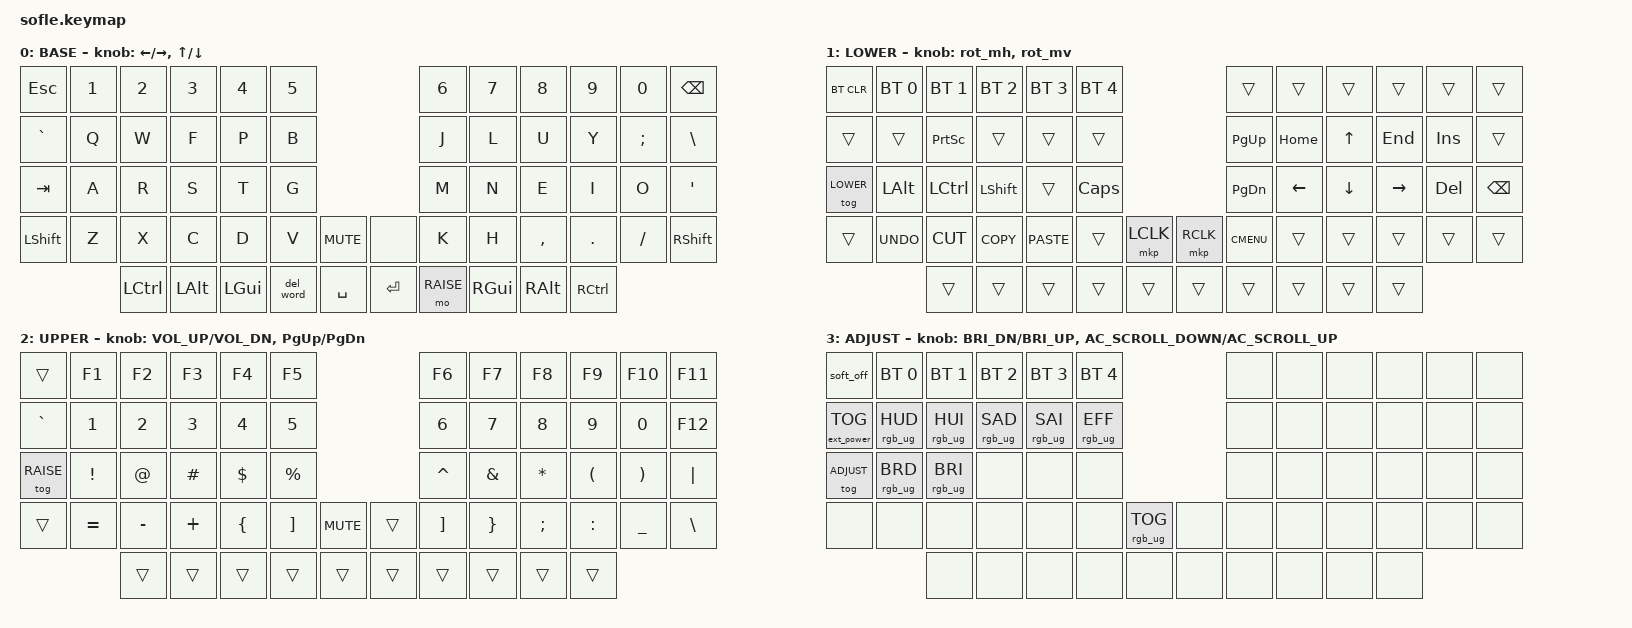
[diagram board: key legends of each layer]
/*
 * Copyright (c) 2020 The ZMK Contributors & Yegor Stepanov
 *
 * SPDX-License-Identifier: MIT
 */

#include <behaviors.dtsi>
#include <dt-bindings/zmk/keys.h>
#include <dt-bindings/zmk/bt.h>
#include <dt-bindings/zmk/rgb.h>
#include <dt-bindings/zmk/ext_power.h>

#define ZMK_POINTING_DEFAULT_MOVE_VAL 1200
#include <dt-bindings/zmk/pointing.h>

#define BASE 0
#define LOWER 1
#define RAISE 2
#define ADJUST 3

&mmv {
    acceleration-exponent = <0>;
    time-to-max-speed-ms = <300>;
    delay-ms = <0>;
    trigger-period-ms = <4>;
};

/ {
    behaviors {
        // Tap dance
        del_word: del_word {
            compatible = "zmk,behavior-tap-dance";
            #binding-cells = <0>;
            tapping-term-ms = <200>;
            bindings = <&mo LOWER>, <&kp LA(BSPC)>;
        };

        // Mouse
        rot_mh: rot_mh {
            compatible = "zmk,behavior-sensor-rotate";
            #sensor-binding-cells = <0>;
            bindings = <&mmv MOVE_LEFT>, <&mmv MOVE_RIGHT>;
            tap-ms = <40>;
        };

        rot_mv: rot_mv {
            compatible = "zmk,behavior-sensor-rotate";
            #sensor-binding-cells = <0>;
            bindings = <&mmv MOVE_UP>, <&mmv MOVE_DOWN>;
            tap-ms = <40>;
        };
    };

    // Activate ADJUST layer by pressing raise and lower
    conditional_layers {
        compatible = "zmk,conditional-layers";
        adjust_layer {
            if-layers = <LOWER RAISE>;
            then-layer = <ADJUST>;
        };
    }; 

    keymap {
        compatible = "zmk,keymap";

        default_layer {
            display-name = "BASE";
            // -----------------------------------------------------------------------------------------------------------
            // |  ESC  |  1  |  2  |  3   |  4   |  5   |                   |  6   |   7  |  8    |  9   |   0   | BKSPC |
            // |   `   |  Q  |  W  |  F   |  P   |  B   |                   |  J   |   L  |  U    |  Y   |   ;   |   \   |
            // |  TAB  |  A  |  R  |  S   |  T   |  G   |                   |  M   |   N  |  E    |  I   |   O   |   '   |
            // | SHIFT |  Z  |  X  |  C   |  D   |  V   |  MUTE  |  |       |  K   |   H  |  ,    |  .   |   /   | SHIFT |
            //               | CTRL| ALT  | GUI  | LOWER|  SPACE |  | ENTER | RAISE|  GUI | ALT   | CTRL |
            bindings = <
                &kp ESC   &kp N1 &kp N2    &kp N3   &kp N4    &kp N5                            &kp N6     &kp N7    &kp N8    &kp N9   &kp N0   &kp BSPC
                &kp GRAVE &kp Q  &kp W     &kp F    &kp P     &kp B                             &kp J      &kp L     &kp U     &kp Y    &kp SEMI &kp BSLH
                &kp TAB   &kp A  &kp R     &kp S    &kp T     &kp G                             &kp M      &kp N     &kp E     &kp I    &kp O    &kp SQT
                &kp LSHFT &kp Z  &kp X     &kp C    &kp D     &kp V      &kp C_MUTE   &none     &kp K      &kp H     &kp COMMA &kp DOT  &kp FSLH &kp RSHFT
                                 &kp LCTRL &kp LALT &kp LGUI  &del_word  &kp SPACE    &kp RET   &mo RAISE  &kp RGUI  &kp RALT  &kp RCTRL
            >;
            sensor-bindings = <
                &inc_dec_kp LEFT RIGHT
                &inc_dec_kp UP DOWN
            >;
        };

        lower_layer {
            display-name = "LOWER";
            // ------------------------------------------------------------------------------------------------------------
            // | BTCLR | BT1  | BT2  |  BT3  |  BT4  |  BT5 |                |      |      |       |      |       |       |
            // |       |      | PSCR |       |       |      |                | PGUP | HOME |   ^   | END  |  INS  |       |
            // | LLCK  | ALT  | CTRL | SHIFT |       | CAPS |                | PGDN |   <- |   v   |  ->  |  DEL  | BKSPC |
            // |       | UNDO | CUT  | COPY  | PASTE |      |      |  |      |CMENU |      |       |      |       |       |
            //                |      |       |       |      |      |  |      |      |      |       |      |
            bindings = <
                &bt BT_CLR     &bt BT_SEL 0 &bt BT_SEL 1 &bt BT_SEL 2 &bt BT_SEL 3 &bt BT_SEL 4                           &trans      &trans    &trans   &trans    &trans  &trans
                &trans         &trans       &kp PSCRN    &trans       &trans       &trans                                 &kp PG_UP   &kp HOME  &kp UP   &kp END   &kp INS &trans
                &tog LOWER     &kp LALT     &kp LCTRL    &kp LSHFT    &trans       &kp CAPS                               &kp PG_DN   &kp LEFT  &kp DOWN &kp RIGHT &kp DEL &kp BSPC
                &trans         &kp K_UNDO   &kp K_CUT    &kp K_COPY   &kp K_PASTE  &trans        &mkp LCLK     &mkp RCLK  &kp K_CMENU &trans    &trans   &trans    &trans  &trans
                                            &trans       &trans       &trans       &trans        &trans        &trans     &trans      &trans    &trans   &trans
            >;
            sensor-bindings = <
                &rot_mh
                &rot_mv
            >;
        };


        raise_layer {
            display-name = "UPPER";
            // ------------------------------------------------------------------------------------------------------------
            // |       |  F1 |  F2 |  F3  |  F4  |  F5  |                   |  F6  |  F7   |  F8   |  F9  |  F10  |  F11  |
            // |   `   |  1  |  2  |  3   |  4   |  5   |                   |  6   |  7    |  8    |  9   |   0   |  F12  |
            // | LLCK  |  !  |  @  |  #   |  $   |  %   |                   |  ^   |  &    |  *    |  (   |   )   |   |   |
            // |       |  =  |  -  |  +   |  {   |  [   |        |  |       |  ]   |  }    |  ;    |  :   |   _   |   \   |
            //               |     |      |      |      |        |  |       |      |       |       |      |
            bindings = <
                &trans        &kp F1    &kp F2    &kp F3    &kp F4    &kp F5                          &kp F6    &kp F7   &kp F8    &kp F9    &kp F10   &kp F11
                &kp GRAVE     &kp N1    &kp N2    &kp N3    &kp N4    &kp N5                          &kp N6    &kp N7   &kp N8    &kp N9    &kp N0    &kp F12
                &tog RAISE    &kp EXCL  &kp AT    &kp HASH  &kp DLLR  &kp PRCNT                       &kp CARET &kp AMPS &kp ASTRK &kp LPAR  &kp RPAR  &kp PIPE
                &trans        &kp EQUAL &kp MINUS &kp PLUS  &kp LBRC  &kp RBKT  &kp C_MUTE    &trans  &kp RBKT  &kp RBRC &kp SEMI  &kp COLON &kp UNDER &kp BSLH
                                        &trans    &trans    &trans    &trans    &trans        &trans  &trans    &trans   &trans    &trans
            >;
            sensor-bindings = <
                &inc_dec_kp C_VOL_UP C_VOL_DN
                &inc_dec_kp PG_UP PG_DN
            >;
        };

        adjust_layer {
            // ----------------------------------------------------------------------------------------------------------------------------
            // | SFTOFF |  BT1    |  BT2    |   BT3   |   BT4   |   BT5   |                  |      |      |       |      |       |       |
            // | EXTPWR | RGB_HUD | RGB_HUI | RGB_SAD | RGB_SAI | RGB_EFF |                  |      |      |       |      |       |       |
            // |  LLCK  | RGB_BRD | RGB_BRI |         |         |         |                  |      |      |       |      |       |       |
            // |        |         |         |         |         |         | RGB_TOG | |      |      |      |       |      |       |       |
            //                    |         |         |         |         |         | |      |      |      |       |      |
            display-name = "ADJUST";
            bindings = <
                &soft_off         &bt BT_SEL 0    &bt BT_SEL 1    &bt BT_SEL 2    &bt BT_SEL 3    &bt BT_SEL 4                              &none &none &none &none &none &none
                &ext_power EP_TOG &rgb_ug RGB_HUD &rgb_ug RGB_HUI &rgb_ug RGB_SAD &rgb_ug RGB_SAI &rgb_ug RGB_EFF                           &none &none &none &none &none &none
                &tog ADJUST       &rgb_ug RGB_BRD &rgb_ug RGB_BRI &none           &none           &none                                     &none &none &none &none &none &none
                &none             &none           &none           &none           &none           &none            &rgb_ug RGB_TOG    &none &none &none &none &none &none &none
                                                  &none           &none           &none           &none            &none              &none &none &none &none &none
            >;
            sensor-bindings = <
                &inc_dec_kp C_BRI_DN C_BRI_UP
                &inc_dec_kp C_AC_SCROLL_DOWN C_AC_SCROLL_UP
            >;
        };
    };
};
